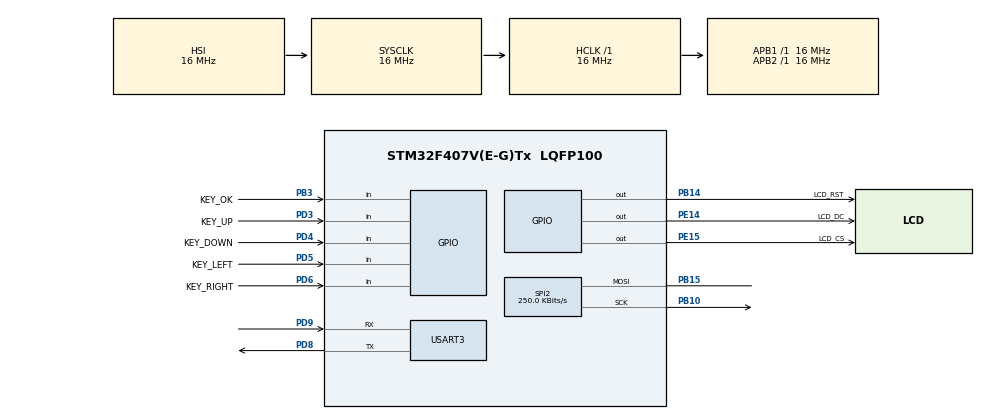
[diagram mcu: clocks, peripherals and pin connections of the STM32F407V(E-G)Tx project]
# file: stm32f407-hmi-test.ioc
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Mcu.Family=STM32F4
Mcu.Name=STM32F407V(E-G)Tx
Mcu.Package=LQFP100
NVIC.PriorityGroup=NVIC_PRIORITYGROUP_4
NVIC.USART3_IRQn=true\:0\:0\:false\:false\:true\:true\:true\:true
PA13.Mode=Serial_Wire
PA13.Signal=SYS_JTMS-SWDIO
PA14.Mode=Serial_Wire
PA14.Signal=SYS_JTCK-SWCLK
PB10.Mode=Simplex_Bidirectional_Master
PB10.Signal=SPI2_SCK
PB14.GPIO_Label=LCD_RST
PB14.PinState=GPIO_PIN_SET
PB14.Signal=GPIO_Output
PB15.Mode=Simplex_Bidirectional_Master
PB15.Signal=SPI2_MOSI
PB3.GPIO_Label=KEY_OK
PB3.GPIO_PuPd=GPIO_PULLUP
PB3.Signal=GPIO_Input
PD3.GPIO_Label=KEY_UP
PD3.GPIO_PuPd=GPIO_PULLUP
PD3.Signal=GPIO_Input
PD4.GPIO_Label=KEY_DOWN
PD4.GPIO_PuPd=GPIO_PULLUP
PD4.Signal=GPIO_Input
PD5.GPIO_Label=KEY_LEFT
PD5.GPIO_PuPd=GPIO_PULLUP
PD5.Signal=GPIO_Input
PD6.GPIO_Label=KEY_RIGHT
PD6.GPIO_PuPd=GPIO_PULLUP
PD6.Signal=GPIO_Input
PD8.Mode=Asynchronous
PD8.Signal=USART3_TX
PD9.Mode=Asynchronous
PD9.Signal=USART3_RX
PE14.GPIO_Label=LCD_DC
PE14.Signal=GPIO_Output
PE15.GPIO_Label=LCD_CS
PE15.GPIO_PuPd=GPIO_NOPULL
PE15.PinState=GPIO_PIN_SET
PE15.Signal=GPIO_Output
ProjectManager.HeapSize=0x200
ProjectManager.StackSize=0x400
ProjectManager.TargetToolchain=STM32CubeIDE
RCC.AHBFreq_Value=16000000
RCC.APB1Freq_Value=16000000
RCC.APB2Freq_Value=16000000
RCC.CortexFreq_Value=16000000
RCC.HSE_VALUE=25000000
RCC.HSI_VALUE=16000000
RCC.LSE_VALUE=32768
RCC.SYSCLKFreq_VALUE=16000000
RCC.VCOOutputFreq_Value=192000000
SPI2.BaudRatePrescaler=SPI_BAUDRATEPRESCALER_64
SPI2.CalculateBaudRate=250.0 KBits/s
SPI2.Direction=SPI_DIRECTION_1LINE
SPI2.Mode=SPI_MODE_MASTER
SPI2.VirtualType=VM_MASTER
USART3.VirtualMode=VM_ASYNC
board=custom

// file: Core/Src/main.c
/* USER CODE BEGIN Header */
/**
  ******************************************************************************
  * @file           : main.c
  * @brief          : Main program body
  ******************************************************************************
  * @attention
  *
  * Copyright (c) 2026 STMicroelectronics.
  * All rights reserved.
  *
  * This software is licensed under terms that can be found in the LICENSE file
  * in the root directory of this software component.
  * If no LICENSE file comes with this software, it is provided AS-IS.
  *
  ******************************************************************************
  */
/* USER CODE END Header */
#include "main.h"

/* USER CODE BEGIN Includes */
#include "gfx.h"
#include "ui.h"
#include "keypad.h"
#include "display_power.h"
#include "sim800_service.h"
/* USER CODE END Includes */

/* USER CODE BEGIN PD */

#define LCD_WIDTH       240U
#define LCD_HEIGHT      320U

#define UI_SCREEN_WIDTH       240U
#define UI_SCREEN_HEIGHT      320U

#define UI_STATUS_BAR_HEIGHT  22U
#define UI_TITLE_BOTTOM_Y     43U
#define UI_CONTENT_TOP        (UI_TITLE_BOTTOM_Y + 10U)
#define UI_FOOTER_LINE_Y      285U

#define LCD_COLOR_BLACK   0x0000U
#define LCD_COLOR_RED     0xF800U
#define LCD_COLOR_GREEN   0x07E0U
#define LCD_COLOR_BLUE    0x001FU
#define LCD_COLOR_WHITE   0xFFFFU
#define LCD_COLOR_GRAY  0x8410U

#define UI_MENU_ITEM_COUNT  7U

#define UI_MENU_FRAME_X     10U
#define UI_MENU_FRAME_Y     49U
#define UI_MENU_FRAME_WIDTH 220U
#define UI_MENU_FRAME_HEIGHT 222U

#define UI_MENU_ITEM_X      16U
#define UI_MENU_FIRST_Y     55U
#define UI_MENU_ITEM_WIDTH  208U
#define UI_MENU_ITEM_HEIGHT 28U
#define UI_MENU_ROW_STEP    30U
#define UI_MENU_TEXT_X      28U

/* USER CODE END PD */

SPI_HandleTypeDef hspi2;

UART_HandleTypeDef huart3;

/* USER CODE BEGIN PV */

static UiModel ui_model;

static uint32_t last_activity_tick = 0U;
static uint8_t display_awake = 1U;

static uint32_t last_status_refresh_tick = 0U;
/* USER CODE END PV */

void SystemClock_Config(void);
static void MX_GPIO_Init(void);
static void MX_SPI2_Init(void);
static void MX_USART3_UART_Init(void);

int main(void)
{

  /* USER CODE BEGIN 1 */
	KeypadEvent_t key_event;
  /* USER CODE END 1 */

  /* MCU Configuration--------------------------------------------------------*/

  /* Reset of all peripherals, Initializes the Flash interface and the Systick. */
  HAL_Init();

  /* Configure the system clock */
  SystemClock_Config();

  /* Initialize all configured peripherals */
  MX_GPIO_Init();
  MX_SPI2_Init();
  MX_USART3_UART_Init();
  /* USER CODE BEGIN 2 */
  gfxInit();
  uiModelInit(&ui_model);

uiInit(&ui_model);
Keypad_Init();

(void)Sim800Service_Init(&huart3, &ui_model);

last_activity_tick = HAL_GetTick();
display_awake = 1U;

  /* USER CODE END 2 */

  /* Infinite loop */
while (1)
{

    /* USER CODE BEGIN 3 */

	bool sim800_changed;

	sim800_changed = Sim800Service_Process();

	key_event = Keypad_Poll();

	if (key_event != KEYPAD_EVENT_NONE) {
	    last_activity_tick = HAL_GetTick();

	    if (display_awake == 0U) {
	        DisplayPower_Wake();
	        display_awake = 1U;
	        uiRefresh();
	    } else {
	        switch (key_event) {
	        case KEYPAD_EVENT_UP:
	            (void)uiHandleKey(UI_KEY_UP);
	            break;

	        case KEYPAD_EVENT_DOWN:
	            (void)uiHandleKey(UI_KEY_DOWN);
	            break;

	        case KEYPAD_EVENT_LEFT:
	            (void)uiHandleKey(UI_KEY_LEFT);
	            break;

	        case KEYPAD_EVENT_RIGHT:
	            (void)uiHandleKey(UI_KEY_RIGHT);
	            break;

	        case KEYPAD_EVENT_ENTER:
	            (void)uiHandleKey(UI_KEY_ENTER);
	            break;

	        case KEYPAD_EVENT_NONE:
	        default:
	            break;
	        }
	    }
	}
	else if ((display_awake != 0U) &&
	         (sim800_changed != false)) {

	    uiRefreshModemStatus();
	    uiRefreshDtmfStatus();
	}
	else if ((display_awake != 0U) &&
	         (ui_model.call_state == UI_CALL_IDLE) &&
	         ((HAL_GetTick() - last_status_refresh_tick) >= 5000U)) {

	    uiRefreshModemStatus();
	    last_status_refresh_tick = HAL_GetTick();
	}

	/*
	if ((display_awake != 0U) &&
	    (ui_model.screen_timeout_seconds > 0U) &&
	    ((HAL_GetTick() - last_activity_tick) >=
	     (ui_model.screen_timeout_seconds * 1000U))) {

	    DisplayPower_Sleep();
	    display_awake = 0U;
	}
*/
	HAL_Delay(10);
}
  /* USER CODE END 3 */
}

void SystemClock_Config(void)
{
  RCC_OscInitTypeDef RCC_OscInitStruct = {0};
  RCC_ClkInitTypeDef RCC_ClkInitStruct = {0};

  /** Configure the main internal regulator output voltage
  */
  __HAL_RCC_PWR_CLK_ENABLE();
  __HAL_PWR_VOLTAGESCALING_CONFIG(PWR_REGULATOR_VOLTAGE_SCALE1);

  /** Initializes the RCC Oscillators according to the specified parameters
  * in the RCC_OscInitTypeDef structure.
  */
  RCC_OscInitStruct.OscillatorType = RCC_OSCILLATORTYPE_HSI;
  RCC_OscInitStruct.HSIState = RCC_HSI_ON;
  RCC_OscInitStruct.HSICalibrationValue = RCC_HSICALIBRATION_DEFAULT;
  RCC_OscInitStruct.PLL.PLLState = RCC_PLL_NONE;
  if (HAL_RCC_OscConfig(&RCC_OscInitStruct) != HAL_OK)
  {
    Error_Handler();
  }

  /** Initializes the CPU, AHB and APB buses clocks
  */
  RCC_ClkInitStruct.ClockType = RCC_CLOCKTYPE_HCLK|RCC_CLOCKTYPE_SYSCLK
                              |RCC_CLOCKTYPE_PCLK1|RCC_CLOCKTYPE_PCLK2;
  RCC_ClkInitStruct.SYSCLKSource = RCC_SYSCLKSOURCE_HSI;
  RCC_ClkInitStruct.AHBCLKDivider = RCC_SYSCLK_DIV1;
  RCC_ClkInitStruct.APB1CLKDivider = RCC_HCLK_DIV1;
  RCC_ClkInitStruct.APB2CLKDivider = RCC_HCLK_DIV1;

  if (HAL_RCC_ClockConfig(&RCC_ClkInitStruct, FLASH_LATENCY_0) != HAL_OK)
  {
    Error_Handler();
  }
}

static void MX_SPI2_Init(void)
{

  /* SPI2 parameter configuration*/
  hspi2.Instance = SPI2;
  hspi2.Init.Mode = SPI_MODE_MASTER;
  hspi2.Init.Direction = SPI_DIRECTION_1LINE;
  hspi2.Init.DataSize = SPI_DATASIZE_8BIT;
  hspi2.Init.CLKPolarity = SPI_POLARITY_LOW;
  hspi2.Init.CLKPhase = SPI_PHASE_1EDGE;
  hspi2.Init.NSS = SPI_NSS_SOFT;
  hspi2.Init.BaudRatePrescaler = SPI_BAUDRATEPRESCALER_64;
  hspi2.Init.FirstBit = SPI_FIRSTBIT_MSB;
  hspi2.Init.TIMode = SPI_TIMODE_DISABLE;
  hspi2.Init.CRCCalculation = SPI_CRCCALCULATION_DISABLE;
  hspi2.Init.CRCPolynomial = 10;
  if (HAL_SPI_Init(&hspi2) != HAL_OK)
  {
    Error_Handler();
  }

}

static void MX_USART3_UART_Init(void)
{

  huart3.Instance = USART3;
  huart3.Init.BaudRate = 115200;
  huart3.Init.WordLength = UART_WORDLENGTH_8B;
  huart3.Init.StopBits = UART_STOPBITS_1;
  huart3.Init.Parity = UART_PARITY_NONE;
  huart3.Init.Mode = UART_MODE_TX_RX;
  huart3.Init.HwFlowCtl = UART_HWCONTROL_NONE;
  huart3.Init.OverSampling = UART_OVERSAMPLING_16;
  if (HAL_UART_Init(&huart3) != HAL_OK)
  {
    Error_Handler();
  }

}

static void MX_GPIO_Init(void)
{
  GPIO_InitTypeDef GPIO_InitStruct = {0};

  /* GPIO Ports Clock Enable */
  __HAL_RCC_GPIOE_CLK_ENABLE();
  __HAL_RCC_GPIOB_CLK_ENABLE();
  __HAL_RCC_GPIOD_CLK_ENABLE();
  __HAL_RCC_GPIOA_CLK_ENABLE();

  /*Configure GPIO pin Output Level */
  HAL_GPIO_WritePin(LCD_DC_GPIO_Port, LCD_DC_Pin, GPIO_PIN_RESET);

  /*Configure GPIO pin Output Level */
  HAL_GPIO_WritePin(LCD_CS_GPIO_Port, LCD_CS_Pin, GPIO_PIN_SET);

  /*Configure GPIO pin Output Level */
  HAL_GPIO_WritePin(LCD_RST_GPIO_Port, LCD_RST_Pin, GPIO_PIN_SET);

  /*Configure GPIO pins : LCD_DC_Pin LCD_CS_Pin */
  GPIO_InitStruct.Pin = LCD_DC_Pin|LCD_CS_Pin;
  GPIO_InitStruct.Mode = GPIO_MODE_OUTPUT_PP;
  GPIO_InitStruct.Pull = GPIO_NOPULL;
  GPIO_InitStruct.Speed = GPIO_SPEED_FREQ_LOW;
  HAL_GPIO_Init(GPIOE, &GPIO_InitStruct);

  /*Configure GPIO pin : LCD_RST_Pin */
  GPIO_InitStruct.Pin = LCD_RST_Pin;
  GPIO_InitStruct.Mode = GPIO_MODE_OUTPUT_PP;
  GPIO_InitStruct.Pull = GPIO_NOPULL;
  GPIO_InitStruct.Speed = GPIO_SPEED_FREQ_LOW;
  HAL_GPIO_Init(LCD_RST_GPIO_Port, &GPIO_InitStruct);

  /*Configure GPIO pins : KEY_UP_Pin KEY_DOWN_Pin KEY_LEFT_Pin KEY_RIGHT_Pin */
  GPIO_InitStruct.Pin = KEY_UP_Pin|KEY_DOWN_Pin|KEY_LEFT_Pin|KEY_RIGHT_Pin;
  GPIO_InitStruct.Mode = GPIO_MODE_INPUT;
  GPIO_InitStruct.Pull = GPIO_PULLUP;
  HAL_GPIO_Init(GPIOD, &GPIO_InitStruct);

  /*Configure GPIO pin : KEY_OK_Pin */
  GPIO_InitStruct.Pin = KEY_OK_Pin;
  GPIO_InitStruct.Mode = GPIO_MODE_INPUT;
  GPIO_InitStruct.Pull = GPIO_PULLUP;
  HAL_GPIO_Init(KEY_OK_GPIO_Port, &GPIO_InitStruct);

}

void Error_Handler(void)
{
  __disable_irq();
  while (1)
  {
  }
}
